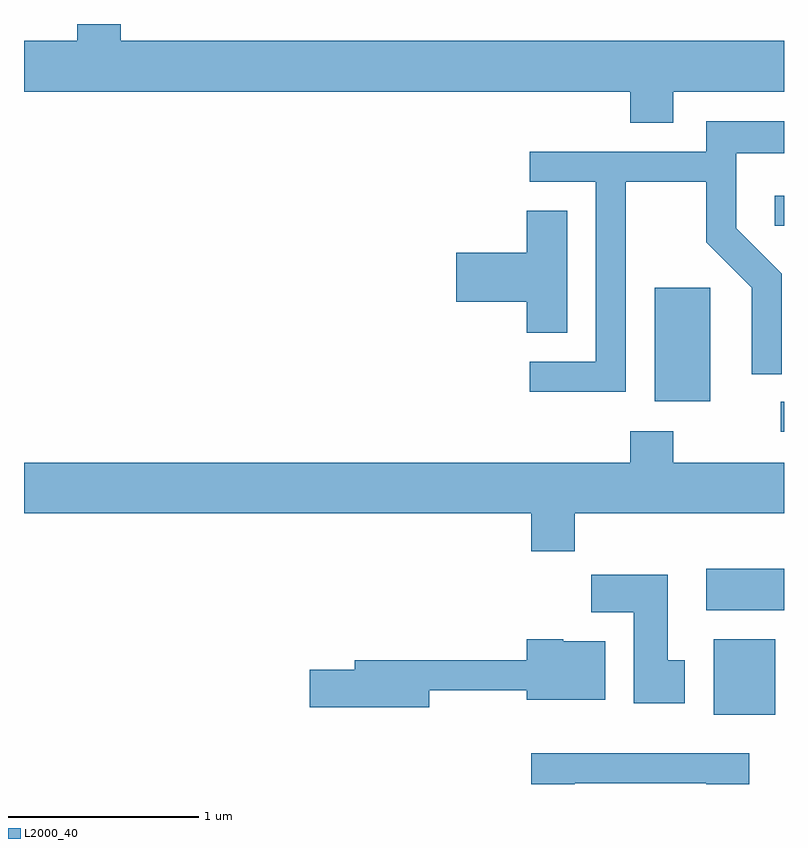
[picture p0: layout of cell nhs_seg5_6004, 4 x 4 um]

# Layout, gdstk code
import gdstk
lib = gdstk.Library(unit=1e-6, precision=1e-09)
def R(c, l, rs):  # rectangles x0, y0, x1, y1
    for r in rs: c.add(gdstk.rectangle(r[:2], r[2:], *l))
def P(c, l, *ps):  # polygons
    for p in ps: c.add(gdstk.Polygon(p, *l))
L2000_40 = (2000, 40)

nhs_seg5_6004 = lib.new_cell('nhs_seg5_6004')
R(nhs_seg5_6004, L2000_40, [(367.241,1422.436,367.564,1422.834), (367.201,1422.986,367.611,1423.204), (367.593,1423.926,367.611,1424.084), (366.931,1424.086,367.224,1424.684), (367.563,1425.011,367.611,1425.169)])
P(nhs_seg5_6004, L2000_40, [(367.029,1425.716),(367.611,1425.716),(367.611,1425.984),(364.119,1425.984),(364.119,1426.072),(363.891,1426.072),(363.891,1425.984),(363.611,1425.984),(363.611,1425.716),(366.801,1425.716),(366.801,1425.551),(367.029,1425.551)],
  [(366.779,1425.241),(367.201,1425.241),(367.201,1424.924),(367.441,1424.684),(367.441,1424.228),(367.599,1424.228),(367.599,1424.757),(367.359,1424.997),(367.359,1425.391),(367.611,1425.391),(367.611,1425.559),(367.201,1425.559),(367.201,1425.399),(366.273,1425.399),(366.273,1425.241),(366.621,1425.241),(366.621,1424.294),(366.273,1424.294),(366.273,1424.136),(366.779,1424.136)],
  [(366.469,1425.089),(366.256,1425.089),(366.256,1424.869),(365.886,1424.869),(365.886,1424.611),(366.256,1424.611),(366.256,1424.446),(366.469,1424.446)],
  [(366.509,1423.496),(367.611,1423.496),(367.611,1423.764),(367.029,1423.764),(367.029,1423.929),(366.801,1423.929),(366.801,1423.764),(363.611,1423.764),(363.611,1423.496),(366.281,1423.496),(366.281,1423.296),(366.509,1423.296)],
  [(367.089,1422.724),(366.999,1422.724),(366.999,1423.174),(366.596,1423.174),(366.596,1422.976),(366.821,1422.976),(366.821,1422.496),(367.089,1422.496)],
  [(365.744,1422.566),(366.256,1422.566),(366.256,1422.516),(366.669,1422.516),(366.669,1422.824),(366.45,1422.824),(366.45,1422.834),(366.256,1422.834),(366.256,1422.724),(365.351,1422.724),(365.351,1422.674),(365.116,1422.674),(365.116,1422.476),(365.744,1422.476)],
  [(366.509,1422.076),(367.201,1422.076),(367.201,1422.072),(367.429,1422.072),(367.429,1422.234),(366.281,1422.234),(366.281,1422.072),(366.509,1422.072)])

lib.write_gds('nhs_seg5_6004.gds')
